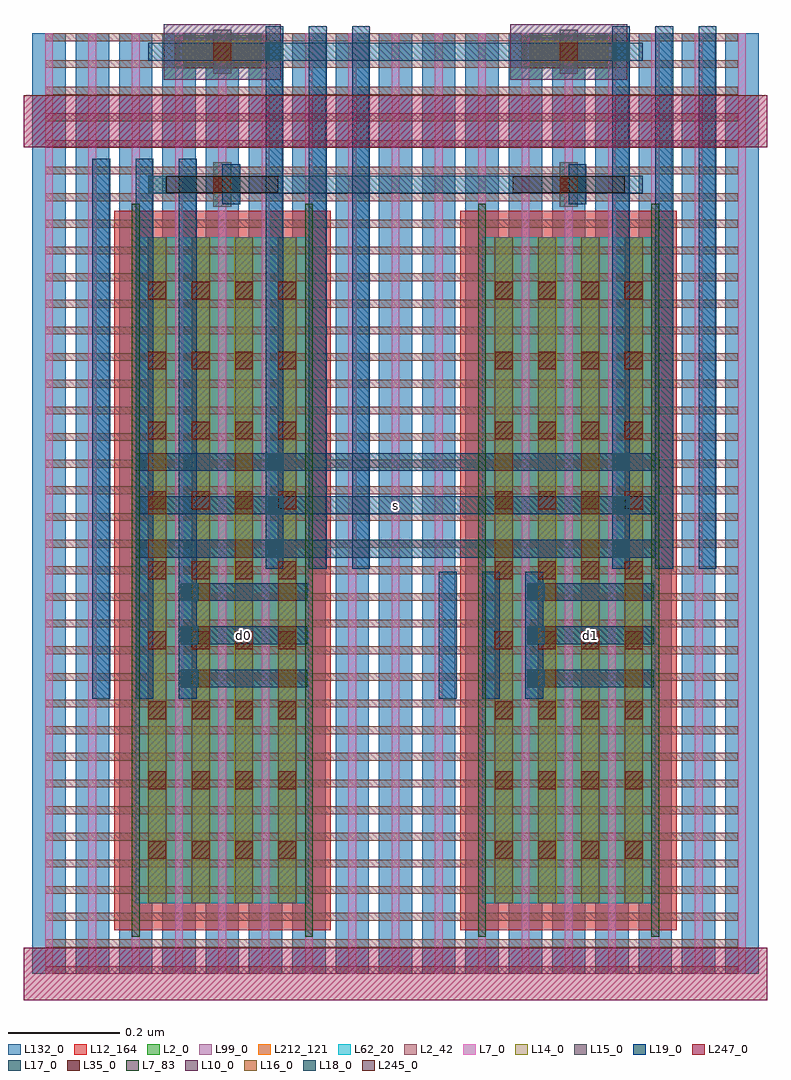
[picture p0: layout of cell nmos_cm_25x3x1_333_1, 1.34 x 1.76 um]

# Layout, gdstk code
import gdstk
lib = gdstk.Library(unit=1e-6, precision=1e-12)
def R(c, l, rs):  # rectangles x0, y0, x1, y1
    for r in rs: c.add(gdstk.rectangle(r[:2], r[2:], *l))
def A(c, l, x, y, w, h, nx, ny, dx, dy):  # array of equal rectangles
    R(c, l, [(x+i*dx, y+j*dy, x+i*dx+w, y+j*dy+h) for i in range(nx) for j in range(ny)])
L2_0 = (2, 0)
L2_42 = (2, 42)
L7_0 = (7, 0)
L7_83 = (7, 83)
L10_0 = (10, 0)
L12_164 = (12, 164)
L14_0 = (14, 0)
L15_0 = (15, 0)
L16_0 = (16, 0)
L17_0 = (17, 0)
L18_0 = (18, 0)
L19_0 = (19, 0)
L35_0 = (35, 0)
L62_20 = (62, 20)
L99_0 = (99, 0)
L132_0 = (132, 0)
L212_121 = (212, 121)
L245_0 = (245, 0)
L247_0 = (247, 0)

nmos_cm_25x3x1_333_1 = lib.new_cell('nmos_cm_25x3x1_333_1')
R(nmos_cm_25x3x1_333_1, L2_0, [(0.186,0.127,0.498,1.327), (0.81,0.127,1.122,1.327), (0.2567,1.631,0.4273,1.691), (0.8807,1.631,1.0513,1.691)])
A(nmos_cm_25x3x1_333_1, L2_42, 0.023, 0, 1.248, 0.014, 1, 36, 0, 0.048)
A(nmos_cm_25x3x1_333_1, L7_0, 0.023, 0, 0.014, 1.694, 17, 1, 0.078, 0)
A(nmos_cm_25x3x1_333_1, L7_83, 0.179, 0.067, 0.014, 1.32, 4, 1, 0.312, 0)
R(nmos_cm_25x3x1_333_1, L10_0, [(0.2367,1.611,0.4473,1.711), (0.8607,1.611,1.0713,1.711)])
R(nmos_cm_25x3x1_333_1, L12_164, [(0.147,0.079,0.537,1.375), (0.771,0.079,1.161,1.375)])
A(nmos_cm_25x3x1_333_1, L14_0, 0.208, 0.127, 0.034, 1.2, 4, 1, 0.078, 0)
A(nmos_cm_25x3x1_333_1, L14_0, 0.832, 0.127, 0.034, 1.2, 4, 1, 0.078, 0)
R(nmos_cm_25x3x1_333_1, L14_0, [(0.2717,1.641,0.4123,1.681), (0.8957,1.641,1.0363,1.681)])
A(nmos_cm_25x3x1_333_1, L15_0, 0.209, 0.127, 0.032, 1.2, 4, 1, 0.078, 0)
A(nmos_cm_25x3x1_333_1, L15_0, 0.833, 0.127, 0.032, 1.2, 4, 1, 0.078, 0)
R(nmos_cm_25x3x1_333_1, L15_0, [(0.326,1.382,0.358,1.462), (0.95,1.382,0.982,1.462), (0.326,1.621,0.358,1.701), (0.95,1.621,0.982,1.701)])
A(nmos_cm_25x3x1_333_1, L16_0, 0.287, 0.516, 0.032, 0.032, 1, 3, 0, 0.078)
A(nmos_cm_25x3x1_333_1, L16_0, 0.443, 0.516, 0.032, 0.032, 1, 3, 0, 0.078)
A(nmos_cm_25x3x1_333_1, L16_0, 0.911, 0.516, 0.032, 0.032, 1, 3, 0, 0.078)
A(nmos_cm_25x3x1_333_1, L16_0, 1.067, 0.516, 0.032, 0.032, 1, 3, 0, 0.078)
A(nmos_cm_25x3x1_333_1, L16_0, 0.209, 0.75, 0.032, 0.032, 1, 3, 0, 0.078)
A(nmos_cm_25x3x1_333_1, L16_0, 0.365, 0.75, 0.032, 0.032, 1, 3, 0, 0.078)
A(nmos_cm_25x3x1_333_1, L16_0, 0.833, 0.75, 0.032, 0.032, 1, 3, 0, 0.078)
A(nmos_cm_25x3x1_333_1, L16_0, 0.989, 0.75, 0.032, 0.032, 1, 3, 0, 0.078)
R(nmos_cm_25x3x1_333_1, L16_0, [(0.326,1.406,0.358,1.438), (0.95,1.406,0.982,1.438), (0.326,1.645,0.358,1.677), (0.95,1.645,0.982,1.677)])
A(nmos_cm_25x3x1_333_1, L17_0, 0.267, 0.516, 0.228, 0.032, 1, 3, 0, 0.078)
A(nmos_cm_25x3x1_333_1, L17_0, 0.891, 0.516, 0.228, 0.032, 1, 3, 0, 0.078)
A(nmos_cm_25x3x1_333_1, L17_0, 0.186, 0.75, 0.312, 0.032, 1, 3, 0, 0.078)
A(nmos_cm_25x3x1_333_1, L17_0, 0.488, 0.75, 0.332, 0.032, 1, 3, 0, 0.078)
A(nmos_cm_25x3x1_333_1, L17_0, 0.81, 0.75, 0.312, 0.032, 1, 3, 0, 0.078)
R(nmos_cm_25x3x1_333_1, L17_0, [(0.209,1.406,0.475,1.438), (0.465,1.406,0.843,1.438), (0.833,1.406,1.099,1.438), (0.209,1.645,0.475,1.677), (0.465,1.645,0.843,1.677), (0.833,1.645,1.099,1.677)])
A(nmos_cm_25x3x1_333_1, L18_0, 0.267, 0.516, 0.032, 0.032, 1, 3, 0, 0.078)
A(nmos_cm_25x3x1_333_1, L18_0, 0.891, 0.516, 0.032, 0.032, 1, 3, 0, 0.078)
A(nmos_cm_25x3x1_333_1, L18_0, 0.42, 0.75, 0.032, 0.032, 1, 3, 0, 0.078)
A(nmos_cm_25x3x1_333_1, L18_0, 1.044, 0.75, 0.032, 0.032, 1, 3, 0, 0.078)
R(nmos_cm_25x3x1_333_1, L18_0, [(0.209,1.406,0.241,1.438), (0.264,1.406,0.296,1.438), (0.342,1.406,0.374,1.438), (0.966,1.406,0.998,1.438), (0.42,1.645,0.452,1.677), (1.044,1.645,1.076,1.677)])
A(nmos_cm_25x3x1_333_1, L19_0, 0.108, 0.496, 0.032, 0.228, 3, 1, 0.078, 0)
A(nmos_cm_25x3x1_333_1, L19_0, 0.732, 0.496, 0.032, 0.228, 3, 1, 0.078, 0)
A(nmos_cm_25x3x1_333_1, L19_0, 0.108, 0.714, 0.032, 0.754, 3, 1, 0.078, 0)
A(nmos_cm_25x3x1_333_1, L19_0, 0.42, 0.73, 0.032, 0.228, 3, 1, 0.078, 0)
A(nmos_cm_25x3x1_333_1, L19_0, 1.044, 0.73, 0.032, 0.228, 3, 1, 0.078, 0)
A(nmos_cm_25x3x1_333_1, L19_0, 0.42, 0.948, 0.032, 0.759, 3, 1, 0.078, 0)
A(nmos_cm_25x3x1_333_1, L19_0, 1.044, 0.948, 0.032, 0.759, 3, 1, 0.078, 0)
R(nmos_cm_25x3x1_333_1, L19_0, [(0.342,1.386,0.374,1.458), (0.966,1.386,0.998,1.458)])
A(nmos_cm_25x3x1_333_1, L35_0, 0.209, 0.207, 0.032, 0.032, 4, 9, 0.078, 0.126)
A(nmos_cm_25x3x1_333_1, L35_0, 0.833, 0.207, 0.032, 0.032, 4, 9, 0.078, 0.126)
R(nmos_cm_25x3x1_333_1, L35_0, [(0.326,1.406,0.358,1.438), (0.95,1.406,0.982,1.438), (0.326,1.645,0.358,1.677), (0.95,1.645,0.982,1.677)])
R(nmos_cm_25x3x1_333_1, L62_20, [(0.186,0.127,0.498,1.327), (0.81,0.127,1.122,1.327)])
R(nmos_cm_25x3x1_333_1, L99_0, [(0.186,0.127,0.498,1.327), (0.81,0.127,1.122,1.327), (0.2667,1.636,0.4173,1.686), (0.8907,1.636,1.0413,1.686)])
A(nmos_cm_25x3x1_333_1, L132_0, 0, 0, 0.06, 1.694, 17, 1, 0.078, 0)
R(nmos_cm_25x3x1_333_1, L212_121, [(0.186,0.127,0.498,1.327), (0.81,0.127,1.122,1.327)])
R(nmos_cm_25x3x1_333_1, L245_0, [(0.241,1.407,0.443,1.437), (0.865,1.407,1.067,1.437)])
R(nmos_cm_25x3x1_333_1, L247_0, [(-0.016,-0.047,0.7,0.047), (0.608,-0.047,1.324,0.047), (-0.016,1.489,0.7,1.583), (0.608,1.489,1.324,1.583)])
nmos_cm_25x3x1_333_1.add(gdstk.Label('s', (0.654,0.844), layer=16, texttype=20))
nmos_cm_25x3x1_333_1.add(gdstk.Label('d1', (1.005,0.61), layer=16, texttype=20))
nmos_cm_25x3x1_333_1.add(gdstk.Label('d0', (0.381,0.61), layer=16, texttype=20))

lib.write_gds('nmos_cm_25x3x1_333_1.gds')
